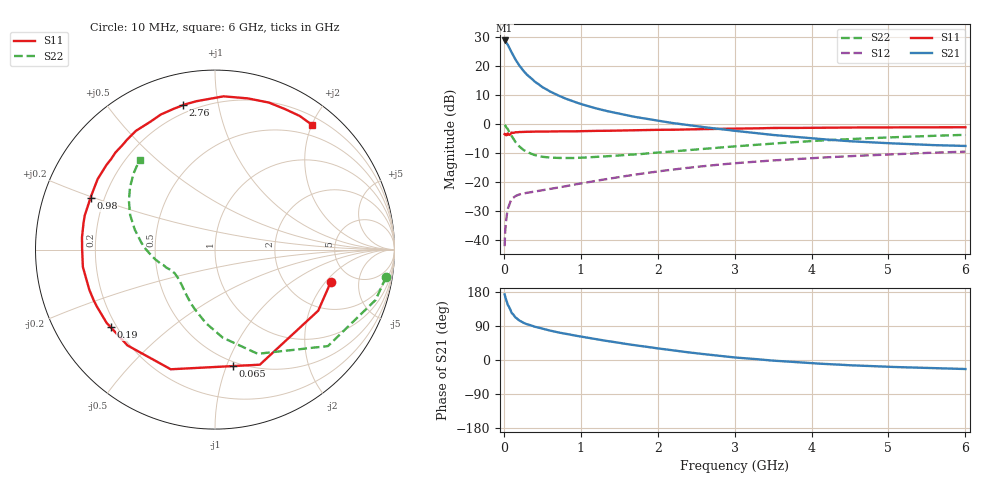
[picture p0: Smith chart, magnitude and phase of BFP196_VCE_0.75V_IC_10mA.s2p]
! Infineon Technologies  Discrete & RF Semiconductors
! BFP196
! VCE = 0.75V,  IC =  10mA
! Common Emitter S-Parameters:  Jan 2016
# GHz  S  MA  R  50
!  f  S11  S21  S12  S22
! GHz  MAG  ANG  MAG  ANG  MAG  ANG  MAG  ANG
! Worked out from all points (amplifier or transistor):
!   210 points, 10 MHz to 6 GHz, reference 50 ohm
!   highest |S21| = 28.8 dB at 10 MHz (marker M1)
!   |S21| within 3 dB of that: start of sweep to 79.02 MHz
!   unconditionally stable (mu >= 1): 836.6 MHz to end of sweep
!   at 185 MHz: K = 0.32, MSG = 22.7 dB, |S12| = -24.5 dB
!   at 1.52 GHz: K = 1.17, MAG = 8.3 dB, |S12| = -18.2 dB
!   at 6 GHz: K = 1.03, MAG = -0.1 dB, |S12| = -9.5 dB
!   S11 on the Smith chart (normalised r, x): 10 MHz: 3.45, -2.28; 65 MHz: 0.46, -1.05; 190 MHz: 0.18, -0.32; 980 MHz: 0.15, +0.20; 2.76 GHz: 0.16, +0.79; 6 GHz: 0.32, +2.00
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0.01  0.6697 -15.8  27.7 173.3  0.0078 83.1  0.9649 -9.1
0.02  0.6683 -30.6  26.84 164.9  0.0156 77.0  0.9378 -17.4
0.05  0.6882 -68.7  23.53 146.1  0.034 59.7  0.8276 -40.5
0.065  0.6567 -81.2  21.41 141.1  0.0386 53.1  0.7517 -47.1
0.1  0.7109 -110.3  17.35 124.9  0.0508 42.8  0.6275 -67.7
0.15  0.723 -132.4  13.02 112.3  0.0572 34.6  0.4929 -84.9
0.19  0.7245 -143.3  10.82 106.2  0.0601 31.4  0.4269 -94.3
0.2  0.7289 -146.0  10.3 104.3  0.0608 30.6  0.4125 -97.1
0.24  0.7303 -153.9  8.767 99.9  0.0629 29.4  0.3705 -104.3
0.3  0.7352 -162.3  7.102 94.4  0.0649 28.9  0.3304 -113.7
0.4  0.7424 -172.5  5.428 87.9  0.0683 29.0  0.2917 -124.7
0.5  0.7404 -179.0  4.346 82.6  0.0717 30.5  0.2722 -132.3
0.7  0.747 169.3  3.148 73.0  0.0797 33.8  0.2601 -142.1
0.98  0.751 157.4  2.266 62.6  0.0932 37.2  0.2611 -150.0
1.02  0.7525 155.8  2.18 61.1  0.0952 37.6  0.2625 -150.8
1.4  0.7668 142.2  1.606 48.6  0.1157 39.5  0.2804 -157.6
2.02  0.7948 123.0  1.129 30.2  0.153 38.2  0.3225 -167.8
2.76  0.8239 102.6  0.835 12.0  0.1969 32.2  0.3882 179.2
3.1  0.8354 95.0  0.74 5.2  0.2154 28.4  0.4202 172.9
4.1  0.8629 76.1  0.553 -9.6  0.2621 17.5  0.5182 156.2
5.1  0.8753 62.3  0.461 -18.6  0.302 6.6  0.5941 142.2
6  0.8805 52.2  0.418 -23.8  0.3342 -3.7  0.6516 130.2
